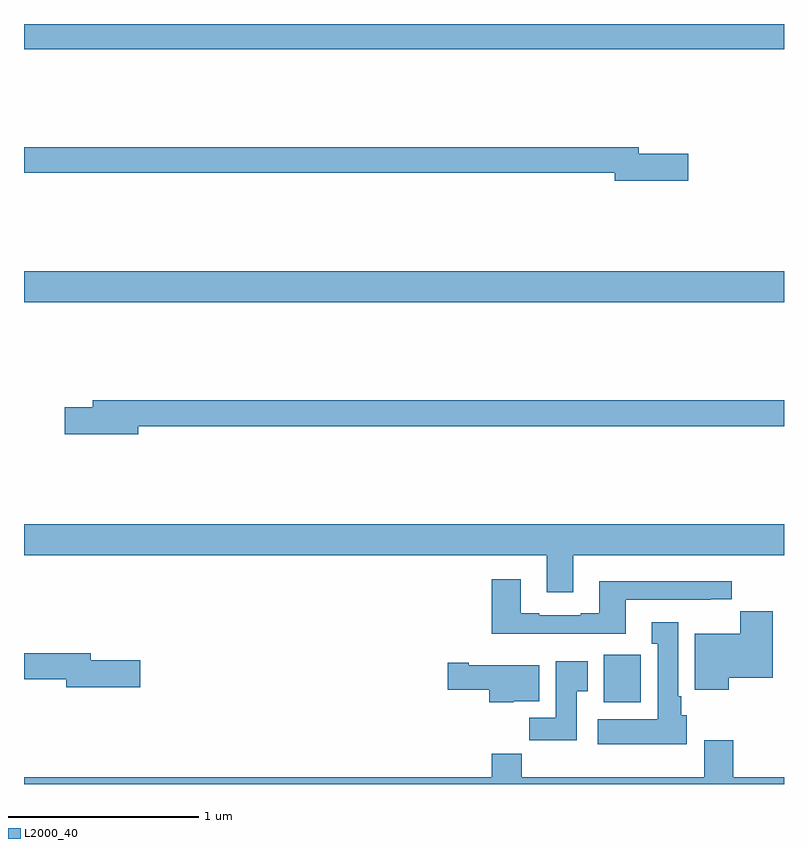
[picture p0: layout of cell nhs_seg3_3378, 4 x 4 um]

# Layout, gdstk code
import gdstk
lib = gdstk.Library(unit=1e-6, precision=1e-09)
def R(c, l, rs):  # rectangles x0, y0, x1, y1
    for r in rs: c.add(gdstk.rectangle(r[:2], r[2:], *l))
def P(c, l, *ps):  # polygons
    for p in ps: c.add(gdstk.Polygon(p, *l))
L2000_40 = (2000, 40)

nhs_seg3_3378 = lib.new_cell('nhs_seg3_3378')
R(nhs_seg3_3378, L2000_40, [(290.051,678.83,290.247,679.081), (287,680.936,291,681.1), (287,682.268,291,682.4)])
P(nhs_seg3_3378, L2000_40, [(290.497,681.716),(290.236,681.716),(290.236,681.752),(287,681.752),(287,681.616),(290.108,681.616),(290.108,681.574),(290.497,681.574)],
  [(287.602,680.284),(291,680.284),(291,680.42),(287.363,680.42),(287.363,680.384),(287.214,680.384),(287.214,680.242),(287.602,680.242)],
  [(289.891,679.604),(291,679.604),(291,679.768),(287,679.768),(287,679.604),(289.751,679.604),(289.751,679.41),(289.891,679.41)],
  [(290.167,679.371),(290.615,679.371),(290.615,679.373),(290.724,679.373),(290.724,679.468),(290.027,679.468),(290.027,679.3),(289.931,679.3),(289.931,679.287),(289.711,679.287),(289.711,679.3),(289.615,679.3),(289.615,679.477),(289.463,679.477),(289.463,679.19),(290.167,679.19)],
  [(290.71,678.959),(290.94,678.959),(290.94,679.308),(290.771,679.308),(290.771,679.192),(290.531,679.192),(290.531,678.896),(290.71,678.896)],
  [(290.488,678.762),(290.458,678.762),(290.458,678.862),(290.443,678.862),(290.443,679.252),(290.303,679.252),(290.303,679.139),(290.336,679.139),(290.336,678.742),(290.019,678.742),(290.019,678.608),(290.488,678.608)],
  [(287.611,679.052),(287.35,679.052),(287.35,679.088),(287,679.088),(287,678.952),(287.222,678.952),(287.222,678.91),(287.611,678.91)],
  [(289.909,678.889),(289.966,678.889),(289.966,679.045),(289.799,679.045),(289.799,678.748),(289.66,678.748),(289.66,678.63),(289.909,678.63)],
  [(289.578,678.836),(289.711,678.836),(289.711,679.024),(289.342,679.024),(289.342,679.037),(289.23,679.037),(289.23,678.895),(289.448,678.895),(289.448,678.83),(289.578,678.83)],
  [(291,678.436),(290.732,678.436),(290.732,678.631),(290.579,678.631),(290.579,678.436),(289.619,678.436),(289.619,678.56),(289.463,678.56),(289.463,678.436),(287,678.436),(287,678.4),(291,678.4)])

lib.write_gds('nhs_seg3_3378.gds')
